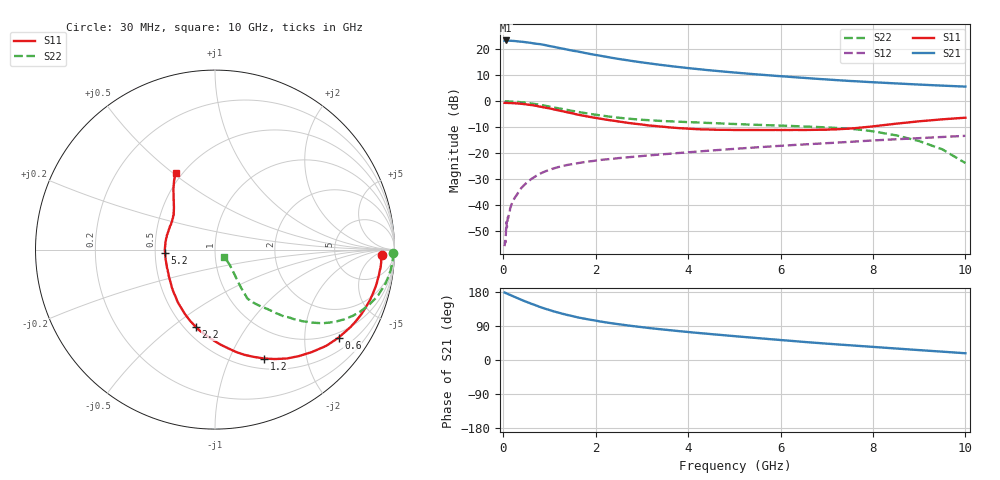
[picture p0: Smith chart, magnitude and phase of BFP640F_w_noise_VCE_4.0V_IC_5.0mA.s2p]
! Infineon Technologies  Discrete & RF Semiconductors
! BFP640F
! VCE =  4.0 V,  IC =  5.0 mA
! Common Emitter S-Parameters:  Apr 2013
# GHz  S  MA  R  50
!  f  S11  S21  S12  S22
! GHz  MAG  ANG  MAG  ANG  MAG  ANG  MAG  ANG
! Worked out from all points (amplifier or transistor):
!   99 points, 30 MHz to 10 GHz, reference 50 ohm
!   highest |S21| = 23.4 dB at 50 MHz (marker M1)
!   |S21| within 3 dB of that: start of sweep to 1.241 GHz
!   unconditionally stable (mu >= 1): 4.141 GHz to end of sweep
!   at 350 MHz: K = 0.12, MSG = 28.7 dB, |S12| = -34.4 dB
!   at 3.5 GHz: K = 0.94, MSG = 17.1 dB, |S12| = -20.4 dB
!   at 10 GHz: K = 1.11, MAG = 7.5 dB, |S12| = -13.3 dB
!   lowest NFmin = 0.52 dB at 450 MHz
!   S11 on the Smith chart (normalised r, x): 30 MHz: 24, -10; 600 MHz: 0.84, -2.90; 1.2 GHz: 0.62, -1.36; 2.2 GHz: 0.57, -0.62; 5.2 GHz: 0.56, -0.02; 10 GHz: 0.46, +0.51
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0.03  0.9312 -1.8  14.69 178.0  0.0016 63.7  0.993 -1.0
0.04  0.9306 -2.4  14.62 177.6  0.002 67.5  0.9922 -1.3
0.05  0.929 -3.1  14.87 177.2  0.0019 61.9  0.9924 -1.7
0.07  0.9289 -4.3  14.76 175.9  0.0047 75.3  0.9938 -2.4
0.08  0.9283 -4.9  14.78 175.4  0.0037 75.6  0.9916 -2.7
0.2  0.9199 -12.2  14.6 169.0  0.0114 80.2  0.9843 -7.0
0.35  0.8996 -21.0  14.18 161.1  0.019 78.4  0.9642 -12.2
0.6  0.8454 -35.5  13.34 148.8  0.0313 72.8  0.9077 -20.2
0.8  0.7855 -46.6  12.61 139.7  0.0401 67.5  0.8514 -25.7
0.9  0.7557 -51.7  12.14 135.6  0.0441 65.5  0.8202 -28.2
1.2  0.6658 -65.7  10.7 124.8  0.0539 59.1  0.7291 -34.2
1.4  0.6093 -74.3  9.862 118.5  0.0593 56.2  0.6756 -37.0
1.7  0.5328 -86.2  8.779 110.4  0.0658 52.9  0.6051 -40.3
2.2  0.4456 -103.6  7.272 99.7  0.0752 49.3  0.5189 -44.8
2.7  0.3822 -118.4  6.148 91.1  0.083 47.1  0.4631 -47.4
3.4  0.3251 -136.5  5.035 81.2  0.0937 45.6  0.4173 -50.2
4.1  0.292 -152.7  4.27 72.7  0.1051 44.0  0.3928 -52.1
5.1  0.2791 -173.9  3.52 61.9  0.1222 41.8  0.3614 -54.3
5.2  0.2785 -175.9  3.461 60.9  0.1239 41.5  0.3583 -54.4
6.7  0.2804 156.0  2.742 45.9  0.15 37.1  0.321 -56.5
8.5  0.3687 128.7  2.206 30.3  0.1846 31.0  0.22 -54.4
10  0.4813 117.0  1.915 17.8  0.2151 24.5  0.0643 -36.9
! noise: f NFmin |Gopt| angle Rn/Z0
0.45  0.52  0.39  9  0.12
0.9  0.54  0.39  20  0.12
1.5  0.58  0.37  28  0.13
1.9  0.6  0.35  43  0.13
2.4  0.65  0.32  59  0.14
3.5  0.75  0.26  79  0.15
5.5  0.99  0.21  151  0.17
10  1.71  0.44  -104  0.36
